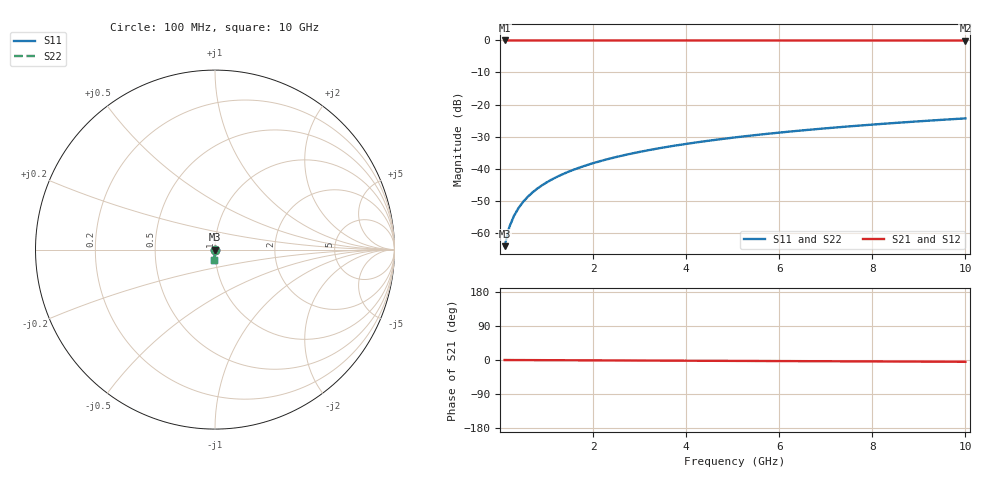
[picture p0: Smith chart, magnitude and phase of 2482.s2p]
# Hz S RI R 50.00
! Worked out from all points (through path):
!   100 points, 100 MHz to 10 GHz, reference 50 ohm
!   highest |S21| = 0.00 dB at 100 MHz (marker M1); lowest = 0.0 dB at 10 GHz (marker M2)
!   lowest |S11| = -64.2 dB at 100 MHz (marker M3), VSWR 1.00, Z = 50 - j0.0607 ohm
!   |S11| at or under -10 dB: start of sweep to end of sweep
!   |S22| runs from -64.2 to -24.3 dB; largest |S21 - S12| = 0
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1e8  0.000105 -0.000607  0.9999 -0.000822  0.9999 -0.000822  0.000105 -0.000607
2e8  0.000104 -0.00121  0.9999 -0.00164  0.9999 -0.00164  0.000104 -0.00121
3e8  0.000101 -0.00182  0.9999 -0.00247  0.9999 -0.00247  0.000101 -0.00182
4e8  9.71e-05 -0.00243  0.9999 -0.00329  0.9999 -0.00329  9.71e-05 -0.00243
5e8  9.23e-05 -0.00304  0.9999 -0.00411  0.9999 -0.00411  9.23e-05 -0.00304
6e8  8.65e-05 -0.00364  0.9999 -0.00493  0.9999 -0.00493  8.65e-05 -0.00364
7e8  7.96e-05 -0.00425  0.9999 -0.00576  0.9999 -0.00576  7.96e-05 -0.00425
8e8  7.17e-05 -0.00486  0.9999 -0.00658  0.9999 -0.00658  7.17e-05 -0.00486
9e8  6.28e-05 -0.00547  0.9998 -0.0074  0.9998 -0.0074  6.28e-05 -0.00547
1.1e9  4.19e-05 -0.00668  0.9998 -0.00905  0.9998 -0.00905  4.19e-05 -0.00668
1.4e9  3.01e-06 -0.0085  0.9998 -0.0115  0.9998 -0.0115  3.01e-06 -0.0085
1.8e9  -6.29e-05 -0.0109  0.9997 -0.0148  0.9997 -0.0148  -6.29e-05 -0.0109
2.1e9  -0.000123 -0.0128  0.9996 -0.0173  0.9996 -0.0173  -0.000123 -0.0128
2.5e9  -0.000217 -0.0152  0.9995 -0.0206  0.9995 -0.0206  -0.000217 -0.0152
2.9e9  -0.000327 -0.0176  0.9994 -0.0239  0.9994 -0.0239  -0.000327 -0.0176
3.4e9  -0.000487 -0.0206  0.9993 -0.028  0.9993 -0.028  -0.000487 -0.0206
4.2e9  -0.000796 -0.0255  0.9989 -0.0345  0.9989 -0.0345  -0.000796 -0.0255
5.1e9  -0.00122 -0.031  0.9985 -0.0419  0.9985 -0.0419  -0.00122 -0.031
5.9e9  -0.00166 -0.0358  0.998 -0.0485  0.998 -0.0485  -0.00166 -0.0358
6.7e9  -0.00217 -0.0407  0.9975 -0.0551  0.9975 -0.0551  -0.00217 -0.0407
8.4e9  -0.00347 -0.0509  0.9961 -0.069  0.9961 -0.069  -0.00347 -0.0509
1e10  -0.00495 -0.0606  0.9946 -0.0822  0.9946 -0.0822  -0.00495 -0.0606
